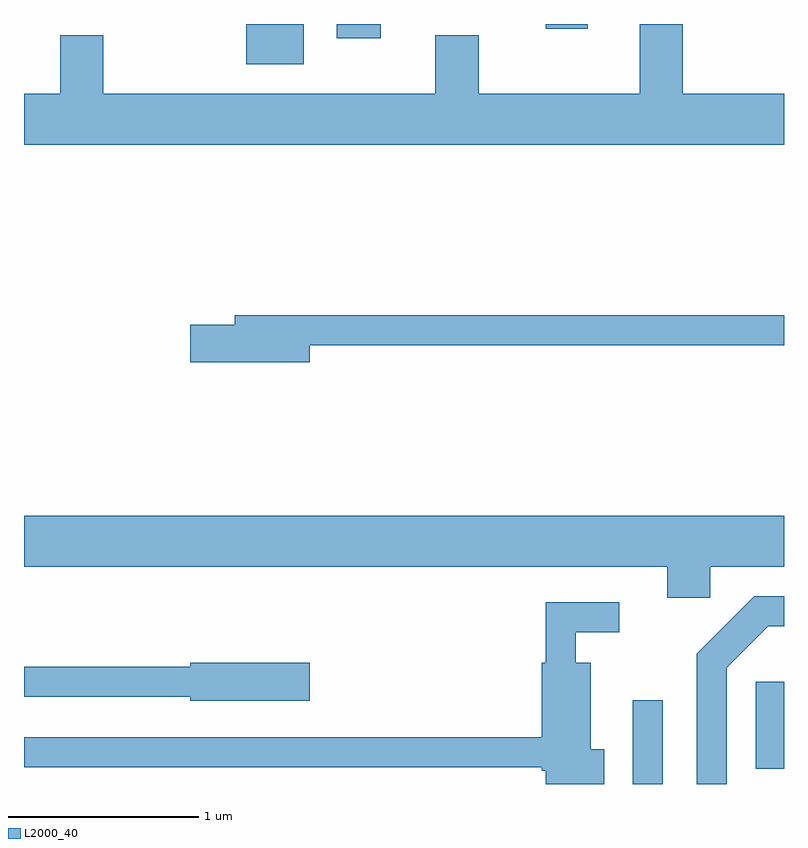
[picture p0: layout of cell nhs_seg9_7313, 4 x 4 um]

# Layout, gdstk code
import gdstk
lib = gdstk.Library(unit=1e-6, precision=1e-09)
def R(c, l, rs):  # rectangles x0, y0, x1, y1
    for r in rs: c.add(gdstk.rectangle(r[:2], r[2:], *l))
def P(c, l, *ps):  # polygons
    for p in ps: c.add(gdstk.Polygon(p, *l))
L2000_40 = (2000, 40)

nhs_seg9_7313 = lib.new_cell('nhs_seg9_7313')
R(nhs_seg9_7313, L2000_40, [(404.816,2008.432,404.974,2008.873), (405.461,2008.511,405.611,2008.969), (402.781,2012.221,403.084,2012.432), (403.256,2012.356,403.489,2012.432), (404.356,2012.406,404.579,2012.432)])
P(nhs_seg9_7313, L2000_40, [(405.611,2012.064),(405.079,2012.064),(405.079,2012.432),(404.851,2012.432),(404.851,2012.064),(404.004,2012.064),(404.004,2012.374),(403.776,2012.374),(403.776,2012.064),(402.029,2012.064),(402.029,2012.374),(401.801,2012.374),(401.801,2012.064),(401.611,2012.064),(401.611,2011.796),(405.611,2011.796)],
  [(403.114,2010.741),(405.611,2010.741),(405.611,2010.899),(402.721,2010.899),(402.721,2010.849),(402.486,2010.849),(402.486,2010.651),(403.114,2010.651)],
  [(405.224,2009.576),(405.611,2009.576),(405.611,2009.844),(401.611,2009.844),(401.611,2009.576),(404.996,2009.576),(404.996,2009.411),(405.224,2009.411)],
  [(405.309,2009.044),(405.527,2009.261),(405.611,2009.261),(405.611,2009.419),(405.454,2009.419),(405.151,2009.117),(405.151,2008.432),(405.309,2008.432)],
  [(404.664,2008.614),(404.594,2008.614),(404.594,2009.069),(404.514,2009.069),(404.514,2009.231),(404.743,2009.231),(404.743,2009.389),(404.356,2009.389),(404.356,2009.069),(404.336,2009.069),(404.336,2008.679),(401.611,2008.679),(401.611,2008.521),(404.336,2008.521),(404.336,2008.501),(404.356,2008.501),(404.356,2008.432),(404.664,2008.432)],
  [(403.114,2009.069),(402.486,2009.069),(402.486,2009.049),(401.611,2009.049),(401.611,2008.891),(402.486,2008.891),(402.486,2008.871),(403.114,2008.871)])

lib.write_gds('nhs_seg9_7313.gds')
